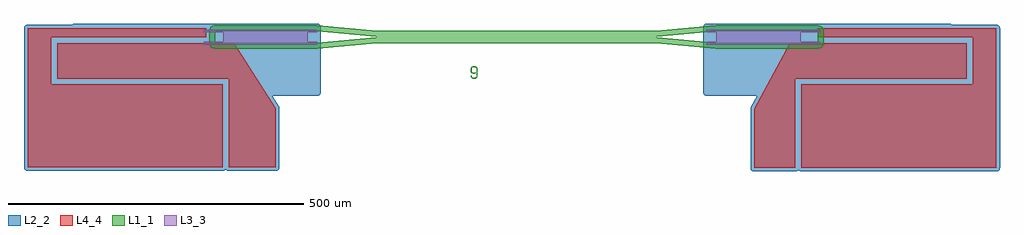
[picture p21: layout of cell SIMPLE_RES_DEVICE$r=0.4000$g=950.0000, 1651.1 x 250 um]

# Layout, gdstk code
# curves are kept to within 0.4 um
import gdstk
lib = gdstk.Library(unit=1e-6, precision=1e-10)
def P(c, l, *ps):  # polygons
    for p in ps: c.add(gdstk.Polygon(p, *l))
L1_1 = (1, 1)
L2_2 = (2, 2)
L3_3 = (3, 3)
L4_4 = (4, 4)

simple_res_device_r_0_40 = lib.new_cell('SIMPLE_RES_DEVICE$r=0.4000$g=950.0000')
P(simple_res_device_r_0_40, L1_1, [(-1280.848,-15.25),(-1284.6748,-14.4888),(-1287.1919,-12.9801),(-1289.1627,-10.8057),(-1290.6559,-7.2009),(-1290.6559,16.7009),(-1287.9191,21.8211),(-1282.7989,24.5579),(-1108.048,24.75),(-1007.579,15.35),(-770.9,15.35),(-770.9,5.35),(-1008.048,5.35),(-1108.048,14.75),(-1280.848,14.75),(-1280.848,-5.25),(-1108.048,-5.25),(-1008.048,4.15),(-770.9,4.15),(-770.9,-5.85),(-1007.579,-5.85),(-1108.048,-15.25)],
  [(-433.752,-15.25),(-534.221,-5.85),(-770.9,-5.85),(-770.9,4.15),(-533.752,4.15),(-433.752,-5.25),(-260.952,-5.25),(-260.952,14.75),(-433.752,14.75),(-533.752,5.35),(-770.9,5.35),(-770.9,15.35),(-534.221,15.35),(-433.752,24.75),(-260.952,24.75),(-255.3963,23.0647),(-253.2219,21.0939),(-251.3826,17.6528),(-250.952,-5.25),(-251.7132,-9.0768),(-253.8809,-12.3211),(-257.1252,-14.4888),(-260.952,-15.25)],
  [(-842.527,-65.604),(-844.891,-65.384),(-845.949,-65.06),(-846.985,-64.46),(-847.681,-63.738),(-848.091,-62.738),(-848.155,-60.7),(-846.669,-60.7),(-846.669,-62.14),(-846.131,-63.116),(-845.135,-63.73),(-842.985,-64.202),(-840.859,-63.966),(-839.729,-63.518),(-838.867,-62.878),(-838.377,-61.876),(-838.377,-48.696),(-838.717,-47.632),(-839.593,-46.902),(-840.747,-46.452),(-843.119,-46.186),(-845.357,-46.726),(-846.321,-47.34),(-846.913,-48.242),(-846.913,-53.316),(-846.573,-54.396),(-845.721,-55.134),(-844.589,-55.55),(-841.253,-55.65),(-840.273,-55.42),(-839.411,-54.892),(-839.403,-56.378),(-841.499,-57.01),(-845.253,-56.864),(-846.447,-56.462),(-847.459,-55.796),(-848.155,-54.774),(-848.399,-53.736),(-848.265,-47.602),(-847.727,-46.526),(-846.905,-45.774),(-844.787,-45.002),(-843.261,-44.842),(-841.001,-44.952),(-838.677,-45.698),(-837.737,-46.45),(-837.191,-47.298),(-836.905,-48.334),(-837.001,-62.708),(-837.373,-63.642),(-838.061,-64.434),(-839.103,-65.062),(-840.155,-65.39)])
P(simple_res_device_r_0_40, L2_2, [(-368.952,-222.5),(-372.7584,-221.1381),(-374.2435,-219.3284),(-374.9231,-217.0881),(-374.952,-116.5),(-374.2302,-113.6469),(-363.8806,-94.5),(-448.952,-94.5),(-451.7804,-93.7915),(-453.9408,-91.8334),(-454.952,-88.5),(-454.952,21.5),(-454.2435,24.3284),(-451.7804,26.7915),(-448.952,27.5),(-38.952,27.5),(-36.6559,27.0433),(-34.4894,25.5),(41.6361,25.4711),(44.3814,24.4888),(46.3395,22.3284),(47.048,19.5),(47.048,-216.5),(46.3395,-219.3284),(43.8764,-221.7915),(41.048,-222.5),(-288.952,-222.5),(-291.7804,-221.7915),(-293.952,-219.8148),(-296.1236,-221.7915),(-298.952,-222.5)],
  [(-1598.048,-221.5),(-1600.3441,-221.0433),(-1602.2906,-219.7426),(-1603.5913,-217.7961),(-1604.048,-215.5),(-1604.048,19.5),(-1603.3395,22.3284),(-1600.8764,24.7915),(-1598.048,25.5),(-1522.5106,25.5),(-1520.3441,27.0433),(-1518.048,27.5),(-1108.048,27.5),(-1105.2196,26.7915),(-1102.7565,24.3284),(-1102.048,21.5),(-1102.048,-88.5),(-1103.0592,-91.8334),(-1105.2196,-93.7915),(-1108.048,-94.5),(-1184.2998,-94.5),(-1172.986,-112.2787),(-1172.0747,-114.9341),(-1172.048,-215.5),(-1172.7565,-218.3284),(-1175.2196,-220.7915),(-1178.048,-221.5),(-1258.048,-221.5),(-1260.8764,-220.7915),(-1263.048,-218.8148),(-1265.2196,-220.7915),(-1268.048,-221.5)])
P(simple_res_device_r_0_40, L3_3, [(-448.952,-8),(-448.952,-3),(-433.197,-3),(-433.197,11.75),(-432.752,11.75),(-432.752,-3),(-432.752,-3),(-431.397,-3),(-431.397,11.75),(-430.952,11.75),(-430.952,-3),(-429.597,-3),(-429.597,11.75),(-429.152,11.75),(-429.152,-3),(-427.797,-3),(-427.797,11.75),(-427.352,11.75),(-427.352,-3),(-425.997,-3),(-425.997,11.75),(-425.552,11.75),(-425.552,-3),(-424.197,-3),(-424.197,11.75),(-423.752,11.75),(-423.752,-3),(-422.397,-3),(-422.397,11.75),(-421.952,11.75),(-421.952,-3),(-420.597,-3),(-420.597,11.75),(-420.152,11.75),(-420.152,-3),(-418.797,-3),(-418.797,11.75),(-418.352,11.75),(-418.352,-3),(-416.997,-3),(-416.997,11.75),(-416.552,11.75),(-416.552,-3),(-415.197,-3),(-415.197,11.75),(-414.752,11.75),(-414.752,-3),(-413.397,-3),(-413.397,11.75),(-412.952,11.75),(-412.952,-3),(-411.597,-3),(-411.597,11.75),(-411.152,11.75),(-411.152,-3),(-409.797,-3),(-409.797,11.75),(-409.352,11.75),(-409.352,-3),(-407.997,-3),(-407.997,11.75),(-407.552,11.75),(-407.552,-3),(-406.197,-3),(-406.197,11.75),(-405.752,11.75),(-405.752,-3),(-404.397,-3),(-404.397,11.75),(-403.952,11.75),(-403.952,-3),(-402.597,-3),(-402.597,11.75),(-402.152,11.75),(-402.152,-3),(-400.797,-3),(-400.797,11.75),(-400.352,11.75),(-400.352,-3),(-398.997,-3),(-398.997,11.75),(-398.552,11.75),(-398.552,-3),(-397.197,-3),(-397.197,11.75),(-396.752,11.75),(-396.752,-3),(-395.397,-3),(-395.397,11.75),(-394.952,11.75),(-394.952,-3),(-393.597,-3),(-393.597,11.75),(-393.152,11.75),(-393.152,-3),(-391.797,-3),(-391.797,11.75),(-391.352,11.75),(-391.352,-3),(-389.997,-3),(-389.997,11.75),(-389.552,11.75),(-389.552,-3),(-388.197,-3),(-388.197,11.75),(-387.752,11.75),(-387.752,-3),(-386.397,-3),(-386.397,11.75),(-385.952,11.75),(-385.952,-3),(-384.597,-3),(-384.597,11.75),(-384.152,11.75),(-384.152,-3),(-382.797,-3),(-382.797,11.75),(-382.352,11.75),(-382.352,-3),(-380.997,-3),(-380.997,11.75),(-380.552,11.75),(-380.552,-3),(-379.197,-3),(-379.197,11.75),(-378.752,11.75),(-378.752,-3),(-377.397,-3),(-377.397,11.75),(-376.952,11.75),(-376.952,-3),(-375.597,-3),(-375.597,11.75),(-375.152,11.75),(-375.152,-3),(-373.797,-3),(-373.797,11.75),(-373.352,11.75),(-373.352,-3),(-371.997,-3),(-371.997,11.75),(-371.552,11.75),(-371.552,-3),(-370.197,-3),(-370.197,11.75),(-369.752,11.75),(-369.752,-3),(-368.397,-3),(-368.397,11.75),(-367.952,11.75),(-367.952,-3),(-366.597,-3),(-366.597,11.75),(-366.152,11.75),(-366.152,-3),(-364.797,-3),(-364.797,11.75),(-364.352,11.75),(-364.352,-3),(-362.997,-3),(-362.997,11.75),(-362.552,11.75),(-362.552,-3),(-361.197,-3),(-361.197,11.75),(-360.752,11.75),(-360.752,-3),(-359.397,-3),(-359.397,11.75),(-358.952,11.75),(-358.952,-3),(-357.597,-3),(-357.597,11.75),(-357.152,11.75),(-357.152,-3),(-355.797,-3),(-355.797,11.75),(-355.352,11.75),(-355.352,-3),(-353.997,-3),(-353.997,11.75),(-353.552,11.75),(-353.552,-3),(-352.197,-3),(-352.197,11.75),(-351.752,11.75),(-351.752,-3),(-350.397,-3),(-350.397,11.75),(-349.952,11.75),(-349.952,-3),(-348.597,-3),(-348.597,11.75),(-348.152,11.75),(-348.152,-3),(-346.797,-3),(-346.797,11.75),(-346.352,11.75),(-346.352,-3),(-344.997,-3),(-344.997,11.75),(-344.552,11.75),(-344.552,-3),(-343.197,-3),(-343.197,11.75),(-342.752,11.75),(-342.752,-3),(-341.397,-3),(-341.397,11.75),(-340.952,11.75),(-340.952,-3),(-339.597,-3),(-339.597,11.75),(-339.152,11.75),(-339.152,-3),(-337.797,-3),(-337.797,11.75),(-337.352,11.75),(-337.352,-3),(-335.997,-3),(-335.997,11.75),(-335.552,11.75),(-335.552,-3),(-334.197,-3),(-334.197,11.75),(-333.752,11.75),(-333.752,-3),(-332.397,-3),(-332.397,11.75),(-331.952,11.75),(-331.952,-3),(-330.597,-3),(-330.597,11.75),(-330.152,11.75),(-330.152,-3),(-328.797,-3),(-328.797,11.75),(-328.352,11.75),(-328.352,-3),(-326.997,-3),(-326.997,11.75),(-326.552,11.75),(-326.552,-3),(-325.197,-3),(-325.197,11.75),(-324.752,11.75),(-324.752,-3),(-323.397,-3),(-323.397,11.75),(-322.952,11.75),(-322.952,-3),(-321.597,-3),(-321.597,11.75),(-321.152,11.75),(-321.152,-3),(-319.797,-3),(-319.797,11.75),(-319.352,11.75),(-319.352,-3),(-317.997,-3),(-317.997,11.75),(-317.552,11.75),(-317.552,-3),(-316.197,-3),(-316.197,11.75),(-315.752,11.75),(-315.752,-3),(-314.397,-3),(-314.397,11.75),(-313.952,11.75),(-313.952,-3),(-312.597,-3),(-312.597,11.75),(-312.152,11.75),(-312.152,-3),(-310.797,-3),(-310.797,11.75),(-310.352,11.75),(-310.352,-3),(-308.997,-3),(-308.997,11.75),(-308.552,11.75),(-308.552,-3),(-307.197,-3),(-307.197,11.75),(-306.752,11.75),(-306.752,-3),(-305.397,-3),(-305.397,11.75),(-304.952,11.75),(-304.952,-3),(-303.597,-3),(-303.597,11.75),(-303.152,11.75),(-303.152,-3),(-301.797,-3),(-301.797,11.75),(-301.352,11.75),(-301.352,-3),(-299.997,-3),(-299.997,11.75),(-299.552,11.75),(-299.552,-3),(-298.197,-3),(-298.197,11.75),(-297.752,11.75),(-297.752,-3),(-296.397,-3),(-296.397,11.75),(-295.952,11.75),(-295.952,-3),(-294.597,-3),(-294.597,11.75),(-294.152,11.75),(-294.152,-3),(-292.797,-3),(-292.797,11.75),(-292.352,11.75),(-292.352,-3),(-290.997,-3),(-290.997,11.75),(-290.552,11.75),(-290.552,-3),(-256.952,-3),(-256.952,-8)],
  [(-432.297,-2.25),(-432.297,12.5),(-448.952,12.5),(-448.952,17.5),(-256.952,17.5),(-256.952,12.5),(-289.652,12.5),(-289.652,-2.25),(-290.097,-2.25),(-290.097,12.5),(-291.452,12.5),(-291.452,-2.25),(-291.897,-2.25),(-291.897,12.5),(-293.252,12.5),(-293.252,-2.25),(-293.697,-2.25),(-293.697,12.5),(-295.052,12.5),(-295.052,-2.25),(-295.497,-2.25),(-295.497,12.5),(-296.852,12.5),(-296.852,-2.25),(-297.297,-2.25),(-297.297,12.5),(-298.652,12.5),(-298.652,-2.25),(-299.097,-2.25),(-299.097,12.5),(-300.452,12.5),(-300.452,-2.25),(-300.897,-2.25),(-300.897,12.5),(-302.252,12.5),(-302.252,-2.25),(-302.697,-2.25),(-302.697,12.5),(-304.052,12.5),(-304.052,-2.25),(-304.497,-2.25),(-304.497,12.5),(-305.852,12.5),(-305.852,-2.25),(-306.297,-2.25),(-306.297,12.5),(-307.652,12.5),(-307.652,-2.25),(-308.097,-2.25),(-308.097,12.5),(-309.452,12.5),(-309.452,-2.25),(-309.897,-2.25),(-309.897,12.5),(-311.252,12.5),(-311.252,-2.25),(-311.697,-2.25),(-311.697,12.5),(-313.052,12.5),(-313.052,-2.25),(-313.497,-2.25),(-313.497,12.5),(-314.852,12.5),(-314.852,-2.25),(-315.297,-2.25),(-315.297,12.5),(-316.652,12.5),(-316.652,-2.25),(-317.097,-2.25),(-317.097,12.5),(-318.452,12.5),(-318.452,-2.25),(-318.897,-2.25),(-318.897,12.5),(-320.252,12.5),(-320.252,-2.25),(-320.697,-2.25),(-320.697,12.5),(-322.052,12.5),(-322.052,-2.25),(-322.497,-2.25),(-322.497,12.5),(-323.852,12.5),(-323.852,-2.25),(-324.297,-2.25),(-324.297,12.5),(-325.652,12.5),(-325.652,-2.25),(-326.097,-2.25),(-326.097,12.5),(-327.452,12.5),(-327.452,-2.25),(-327.897,-2.25),(-327.897,12.5),(-329.252,12.5),(-329.252,-2.25),(-329.697,-2.25),(-329.697,12.5),(-331.052,12.5),(-331.052,-2.25),(-331.497,-2.25),(-331.497,12.5),(-332.852,12.5),(-332.852,-2.25),(-333.297,-2.25),(-333.297,12.5),(-334.652,12.5),(-334.652,-2.25),(-335.097,-2.25),(-335.097,12.5),(-336.452,12.5),(-336.452,-2.25),(-336.897,-2.25),(-336.897,12.5),(-338.252,12.5),(-338.252,-2.25),(-338.697,-2.25),(-338.697,12.5),(-340.052,12.5),(-340.052,-2.25),(-340.497,-2.25),(-340.497,12.5),(-341.852,12.5),(-341.852,-2.25),(-342.297,-2.25),(-342.297,12.5),(-343.652,12.5),(-343.652,-2.25),(-344.097,-2.25),(-344.097,12.5),(-345.452,12.5),(-345.452,-2.25),(-345.897,-2.25),(-345.897,12.5),(-347.252,12.5),(-347.252,-2.25),(-347.697,-2.25),(-347.697,12.5),(-349.052,12.5),(-349.052,-2.25),(-349.497,-2.25),(-349.497,12.5),(-350.852,12.5),(-350.852,-2.25),(-351.297,-2.25),(-351.297,12.5),(-352.652,12.5),(-352.652,-2.25),(-353.097,-2.25),(-353.097,12.5),(-354.452,12.5),(-354.452,-2.25),(-354.897,-2.25),(-354.897,12.5),(-356.252,12.5),(-356.252,-2.25),(-356.697,-2.25),(-356.697,12.5),(-358.052,12.5),(-358.052,-2.25),(-358.497,-2.25),(-358.497,12.5),(-359.852,12.5),(-359.852,-2.25),(-360.297,-2.25),(-360.297,12.5),(-361.652,12.5),(-361.652,-2.25),(-362.097,-2.25),(-362.097,12.5),(-363.452,12.5),(-363.452,-2.25),(-363.897,-2.25),(-363.897,12.5),(-365.252,12.5),(-365.252,-2.25),(-365.697,-2.25),(-365.697,12.5),(-367.052,12.5),(-367.052,-2.25),(-367.497,-2.25),(-367.497,12.5),(-368.852,12.5),(-368.852,-2.25),(-369.297,-2.25),(-369.297,12.5),(-370.652,12.5),(-370.652,-2.25),(-371.097,-2.25),(-371.097,12.5),(-372.452,12.5),(-372.452,-2.25),(-372.897,-2.25),(-372.897,12.5),(-374.252,12.5),(-374.252,-2.25),(-374.697,-2.25),(-374.697,12.5),(-376.052,12.5),(-376.052,-2.25),(-376.497,-2.25),(-376.497,12.5),(-377.852,12.5),(-377.852,-2.25),(-378.297,-2.25),(-378.297,12.5),(-379.652,12.5),(-379.652,-2.25),(-380.097,-2.25),(-380.097,12.5),(-381.452,12.5),(-381.452,-2.25),(-381.897,-2.25),(-381.897,12.5),(-383.252,12.5),(-383.252,-2.25),(-383.697,-2.25),(-383.697,12.5),(-385.052,12.5),(-385.052,-2.25),(-385.497,-2.25),(-385.497,12.5),(-386.852,12.5),(-386.852,-2.25),(-387.297,-2.25),(-387.297,12.5),(-388.652,12.5),(-388.652,-2.25),(-389.097,-2.25),(-389.097,12.5),(-390.452,12.5),(-390.452,-2.25),(-390.897,-2.25),(-390.897,12.5),(-392.252,12.5),(-392.252,-2.25),(-392.697,-2.25),(-392.697,12.5),(-394.052,12.5),(-394.052,-2.25),(-394.497,-2.25),(-394.497,12.5),(-395.852,12.5),(-395.852,-2.25),(-396.297,-2.25),(-396.297,12.5),(-397.652,12.5),(-397.652,-2.25),(-398.097,-2.25),(-398.097,12.5),(-399.452,12.5),(-399.452,-2.25),(-399.897,-2.25),(-399.897,12.5),(-401.252,12.5),(-401.252,-2.25),(-401.697,-2.25),(-401.697,12.5),(-403.052,12.5),(-403.052,-2.25),(-403.497,-2.25),(-403.497,12.5),(-404.852,12.5),(-404.852,-2.25),(-405.297,-2.25),(-405.297,12.5),(-406.652,12.5),(-406.652,-2.25),(-407.097,-2.25),(-407.097,12.5),(-408.452,12.5),(-408.452,-2.25),(-408.897,-2.25),(-408.897,12.5),(-410.252,12.5),(-410.252,-2.25),(-410.697,-2.25),(-410.697,12.5),(-412.052,12.5),(-412.052,-2.25),(-412.497,-2.25),(-412.497,12.5),(-413.852,12.5),(-413.852,-2.25),(-414.297,-2.25),(-414.297,12.5),(-415.652,12.5),(-415.652,-2.25),(-416.097,-2.25),(-416.097,12.5),(-417.452,12.5),(-417.452,-2.25),(-417.897,-2.25),(-417.897,-2.25),(-417.897,12.5),(-419.252,12.5),(-419.252,-2.25),(-419.697,-2.25),(-419.697,12.5),(-421.052,12.5),(-421.052,-2.25),(-421.497,-2.25),(-421.497,12.5),(-422.852,12.5),(-422.852,-2.25),(-423.297,-2.25),(-423.297,12.5),(-424.652,12.5),(-424.652,-2.25),(-425.097,-2.25),(-425.097,12.5),(-426.452,12.5),(-426.452,-2.25),(-426.897,-2.25),(-426.897,12.5),(-428.252,12.5),(-428.252,-2.25),(-428.697,-2.25),(-428.697,12.5),(-430.052,12.5),(-430.052,-2.25),(-430.497,-2.25),(-430.497,12.5),(-431.852,12.5),(-431.852,-2.25)],
  [(-1300.048,-8),(-1300.048,-3),(-1266.448,-3),(-1266.448,11.75),(-1266.003,11.75),(-1266.003,-3),(-1264.648,-3),(-1264.648,11.75),(-1264.203,11.75),(-1264.203,-3),(-1262.848,-3),(-1262.848,11.75),(-1262.403,11.75),(-1262.403,-3),(-1261.048,-3),(-1261.048,11.75),(-1260.603,11.75),(-1260.603,-3),(-1259.248,-3),(-1259.248,11.75),(-1258.803,11.75),(-1258.803,-3),(-1257.448,-3),(-1257.448,11.75),(-1257.003,11.75),(-1257.003,-3),(-1255.648,-3),(-1255.648,11.75),(-1255.203,11.75),(-1255.203,-3),(-1253.848,-3),(-1253.848,11.75),(-1253.403,11.75),(-1253.403,-3),(-1252.048,-3),(-1252.048,11.75),(-1251.603,11.75),(-1251.603,-3),(-1250.248,-3),(-1250.248,11.75),(-1249.803,11.75),(-1249.803,-3),(-1248.448,-3),(-1248.448,11.75),(-1248.003,11.75),(-1248.003,-3),(-1246.648,-3),(-1246.648,11.75),(-1246.203,11.75),(-1246.203,-3),(-1244.848,-3),(-1244.848,11.75),(-1244.403,11.75),(-1244.403,11.75),(-1244.403,-3),(-1243.048,-3),(-1243.048,11.75),(-1242.603,11.75),(-1242.603,-3),(-1241.248,-3),(-1241.248,11.75),(-1240.803,11.75),(-1240.803,-3),(-1239.448,-3),(-1239.448,11.75),(-1239.003,11.75),(-1239.003,-3),(-1237.648,-3),(-1237.648,11.75),(-1237.203,11.75),(-1237.203,-3),(-1235.848,-3),(-1235.848,11.75),(-1235.403,11.75),(-1235.403,-3),(-1234.048,-3),(-1234.048,11.75),(-1233.603,11.75),(-1233.603,-3),(-1232.248,-3),(-1232.248,11.75),(-1231.803,11.75),(-1231.803,-3),(-1230.448,-3),(-1230.448,11.75),(-1230.003,11.75),(-1230.003,-3),(-1228.648,-3),(-1228.648,11.75),(-1228.203,11.75),(-1228.203,-3),(-1226.848,-3),(-1226.848,11.75),(-1226.403,11.75),(-1226.403,-3),(-1225.048,-3),(-1225.048,11.75),(-1224.603,11.75),(-1224.603,-3),(-1223.248,-3),(-1223.248,11.75),(-1222.803,11.75),(-1222.803,-3),(-1221.448,-3),(-1221.448,11.75),(-1221.003,11.75),(-1221.003,-3),(-1219.648,-3),(-1219.648,11.75),(-1219.203,11.75),(-1219.203,-3),(-1217.848,-3),(-1217.848,11.75),(-1217.403,11.75),(-1217.403,-3),(-1216.048,-3),(-1216.048,11.75),(-1215.603,11.75),(-1215.603,-3),(-1214.248,-3),(-1214.248,11.75),(-1213.803,11.75),(-1213.803,-3),(-1212.448,-3),(-1212.448,11.75),(-1212.003,11.75),(-1212.003,-3),(-1210.648,-3),(-1210.648,11.75),(-1210.203,11.75),(-1210.203,-3),(-1208.848,-3),(-1208.848,11.75),(-1208.403,11.75),(-1208.403,-3),(-1207.048,-3),(-1207.048,11.75),(-1206.603,11.75),(-1206.603,-3),(-1205.248,-3),(-1205.248,11.75),(-1204.803,11.75),(-1204.803,-3),(-1203.448,-3),(-1203.448,11.75),(-1203.003,11.75),(-1203.003,-3),(-1201.648,-3),(-1201.648,11.75),(-1201.203,11.75),(-1201.203,-3),(-1199.848,-3),(-1199.848,11.75),(-1199.403,11.75),(-1199.403,-3),(-1198.048,-3),(-1198.048,11.75),(-1197.603,11.75),(-1197.603,-3),(-1196.248,-3),(-1196.248,11.75),(-1195.803,11.75),(-1195.803,-3),(-1194.448,-3),(-1194.448,11.75),(-1194.003,11.75),(-1194.003,-3),(-1192.648,-3),(-1192.648,11.75),(-1192.203,11.75),(-1192.203,-3),(-1190.848,-3),(-1190.848,11.75),(-1190.403,11.75),(-1190.403,-3),(-1189.048,-3),(-1189.048,11.75),(-1188.603,11.75),(-1188.603,-3),(-1187.248,-3),(-1187.248,11.75),(-1186.803,11.75),(-1186.803,-3),(-1185.448,-3),(-1185.448,11.75),(-1185.003,11.75),(-1185.003,-3),(-1183.648,-3),(-1183.648,11.75),(-1183.203,11.75),(-1183.203,-3),(-1181.848,-3),(-1181.848,11.75),(-1181.403,11.75),(-1181.403,-3),(-1180.048,-3),(-1180.048,11.75),(-1179.603,11.75),(-1179.603,-3),(-1178.248,-3),(-1178.248,11.75),(-1177.803,11.75),(-1177.803,-3),(-1176.448,-3),(-1176.448,11.75),(-1176.003,11.75),(-1176.003,-3),(-1174.648,-3),(-1174.648,11.75),(-1174.203,11.75),(-1174.203,-3),(-1172.848,-3),(-1172.848,11.75),(-1172.403,11.75),(-1172.403,-3),(-1171.048,-3),(-1171.048,11.75),(-1170.603,11.75),(-1170.603,-3),(-1169.248,-3),(-1169.248,11.75),(-1168.803,11.75),(-1168.803,-3),(-1167.448,-3),(-1167.448,11.75),(-1167.003,11.75),(-1167.003,-3),(-1165.648,-3),(-1165.648,11.75),(-1165.203,11.75),(-1165.203,-3),(-1163.848,-3),(-1163.848,11.75),(-1163.403,11.75),(-1163.403,-3),(-1162.048,-3),(-1162.048,11.75),(-1161.603,11.75),(-1161.603,-3),(-1160.248,-3),(-1160.248,11.75),(-1159.803,11.75),(-1159.803,-3),(-1158.448,-3),(-1158.448,11.75),(-1158.003,11.75),(-1158.003,-3),(-1156.648,-3),(-1156.648,11.75),(-1156.203,11.75),(-1156.203,-3),(-1154.848,-3),(-1154.848,11.75),(-1154.403,11.75),(-1154.403,-3),(-1153.048,-3),(-1153.048,11.75),(-1152.603,11.75),(-1152.603,-3),(-1151.248,-3),(-1151.248,11.75),(-1150.803,11.75),(-1150.803,-3),(-1149.448,-3),(-1149.448,11.75),(-1149.003,11.75),(-1149.003,-3),(-1147.648,-3),(-1147.648,11.75),(-1147.203,11.75),(-1147.203,-3),(-1145.848,-3),(-1145.848,11.75),(-1145.403,11.75),(-1145.403,-3),(-1144.048,-3),(-1144.048,11.75),(-1143.603,11.75),(-1143.603,-3),(-1142.248,-3),(-1142.248,11.75),(-1141.803,11.75),(-1141.803,-3),(-1140.448,-3),(-1140.448,11.75),(-1140.003,11.75),(-1140.003,-3),(-1138.648,-3),(-1138.648,11.75),(-1138.203,11.75),(-1138.203,-3),(-1136.848,-3),(-1136.848,11.75),(-1136.403,11.75),(-1136.403,-3),(-1135.048,-3),(-1135.048,11.75),(-1134.603,11.75),(-1134.603,-3),(-1133.248,-3),(-1133.248,11.75),(-1132.803,11.75),(-1132.803,-3),(-1131.448,-3),(-1131.448,11.75),(-1131.003,11.75),(-1131.003,-3),(-1129.648,-3),(-1129.648,11.75),(-1129.203,11.75),(-1129.203,-3),(-1127.848,-3),(-1127.848,11.75),(-1127.403,11.75),(-1127.403,-3),(-1126.048,-3),(-1126.048,11.75),(-1125.603,11.75),(-1125.603,-3),(-1124.248,-3),(-1124.248,11.75),(-1123.803,11.75),(-1123.803,-3),(-1108.048,-3),(-1108.048,-8)],
  [(-1267.348,-2.25),(-1267.348,12.5),(-1300.048,12.5),(-1300.048,17.5),(-1108.048,17.5),(-1108.048,12.5),(-1124.703,12.5),(-1124.703,-2.25),(-1125.148,-2.25),(-1125.148,12.5),(-1126.503,12.5),(-1126.503,-2.25),(-1126.948,-2.25),(-1126.948,12.5),(-1128.303,12.5),(-1128.303,-2.25),(-1128.748,-2.25),(-1128.748,12.5),(-1130.103,12.5),(-1130.103,-2.25),(-1130.548,-2.25),(-1130.548,12.5),(-1131.903,12.5),(-1131.903,-2.25),(-1132.348,-2.25),(-1132.348,12.5),(-1133.703,12.5),(-1133.703,-2.25),(-1134.148,-2.25),(-1134.148,12.5),(-1135.503,12.5),(-1135.503,-2.25),(-1135.948,-2.25),(-1135.948,12.5),(-1137.303,12.5),(-1137.303,-2.25),(-1137.748,-2.25),(-1137.748,12.5),(-1139.103,12.5),(-1139.103,-2.25),(-1139.548,-2.25),(-1139.548,12.5),(-1140.903,12.5),(-1140.903,-2.25),(-1141.348,-2.25),(-1141.348,12.5),(-1142.703,12.5),(-1142.703,-2.25),(-1143.148,-2.25),(-1143.148,12.5),(-1144.503,12.5),(-1144.503,-2.25),(-1144.948,-2.25),(-1144.948,12.5),(-1146.303,12.5),(-1146.303,-2.25),(-1146.748,-2.25),(-1146.748,12.5),(-1148.103,12.5),(-1148.103,-2.25),(-1148.548,-2.25),(-1148.548,12.5),(-1149.903,12.5),(-1149.903,-2.25),(-1150.348,-2.25),(-1150.348,12.5),(-1151.703,12.5),(-1151.703,-2.25),(-1152.148,-2.25),(-1152.148,12.5),(-1153.503,12.5),(-1153.503,-2.25),(-1153.948,-2.25),(-1153.948,12.5),(-1155.303,12.5),(-1155.303,-2.25),(-1155.748,-2.25),(-1155.748,12.5),(-1157.103,12.5),(-1157.103,-2.25),(-1157.548,-2.25),(-1157.548,12.5),(-1158.903,12.5),(-1158.903,-2.25),(-1159.348,-2.25),(-1159.348,12.5),(-1160.703,12.5),(-1160.703,-2.25),(-1161.148,-2.25),(-1161.148,12.5),(-1162.503,12.5),(-1162.503,-2.25),(-1162.948,-2.25),(-1162.948,12.5),(-1164.303,12.5),(-1164.303,-2.25),(-1164.748,-2.25),(-1164.748,12.5),(-1166.103,12.5),(-1166.103,-2.25),(-1166.548,-2.25),(-1166.548,12.5),(-1167.903,12.5),(-1167.903,-2.25),(-1168.348,-2.25),(-1168.348,12.5),(-1169.703,12.5),(-1169.703,-2.25),(-1170.148,-2.25),(-1170.148,12.5),(-1171.503,12.5),(-1171.503,-2.25),(-1171.948,-2.25),(-1171.948,12.5),(-1173.303,12.5),(-1173.303,-2.25),(-1173.748,-2.25),(-1173.748,12.5),(-1175.103,12.5),(-1175.103,-2.25),(-1175.548,-2.25),(-1175.548,12.5),(-1176.903,12.5),(-1176.903,-2.25),(-1177.348,-2.25),(-1177.348,12.5),(-1178.703,12.5),(-1178.703,-2.25),(-1179.148,-2.25),(-1179.148,12.5),(-1180.503,12.5),(-1180.503,-2.25),(-1180.948,-2.25),(-1180.948,12.5),(-1182.303,12.5),(-1182.303,-2.25),(-1182.748,-2.25),(-1182.748,12.5),(-1184.103,12.5),(-1184.103,-2.25),(-1184.548,-2.25),(-1184.548,12.5),(-1185.903,12.5),(-1185.903,-2.25),(-1186.348,-2.25),(-1186.348,12.5),(-1187.703,12.5),(-1187.703,-2.25),(-1188.148,-2.25),(-1188.148,12.5),(-1189.503,12.5),(-1189.503,-2.25),(-1189.948,-2.25),(-1189.948,12.5),(-1191.303,12.5),(-1191.303,-2.25),(-1191.748,-2.25),(-1191.748,12.5),(-1193.103,12.5),(-1193.103,-2.25),(-1193.548,-2.25),(-1193.548,12.5),(-1194.903,12.5),(-1194.903,-2.25),(-1195.348,-2.25),(-1195.348,12.5),(-1196.703,12.5),(-1196.703,-2.25),(-1197.148,-2.25),(-1197.148,12.5),(-1198.503,12.5),(-1198.503,-2.25),(-1198.948,-2.25),(-1198.948,12.5),(-1200.303,12.5),(-1200.303,-2.25),(-1200.748,-2.25),(-1200.748,12.5),(-1202.103,12.5),(-1202.103,-2.25),(-1202.548,-2.25),(-1202.548,12.5),(-1203.903,12.5),(-1203.903,-2.25),(-1204.348,-2.25),(-1204.348,12.5),(-1205.703,12.5),(-1205.703,-2.25),(-1206.148,-2.25),(-1206.148,12.5),(-1207.503,12.5),(-1207.503,-2.25),(-1207.948,-2.25),(-1207.948,12.5),(-1209.303,12.5),(-1209.303,-2.25),(-1209.748,-2.25),(-1209.748,12.5),(-1211.103,12.5),(-1211.103,-2.25),(-1211.548,-2.25),(-1211.548,12.5),(-1212.903,12.5),(-1212.903,-2.25),(-1213.348,-2.25),(-1213.348,12.5),(-1214.703,12.5),(-1214.703,-2.25),(-1215.148,-2.25),(-1215.148,12.5),(-1216.503,12.5),(-1216.503,-2.25),(-1216.948,-2.25),(-1216.948,12.5),(-1218.303,12.5),(-1218.303,-2.25),(-1218.748,-2.25),(-1218.748,12.5),(-1220.103,12.5),(-1220.103,-2.25),(-1220.548,-2.25),(-1220.548,12.5),(-1221.903,12.5),(-1221.903,-2.25),(-1222.348,-2.25),(-1222.348,12.5),(-1223.703,12.5),(-1223.703,-2.25),(-1224.148,-2.25),(-1224.148,12.5),(-1225.503,12.5),(-1225.503,-2.25),(-1225.948,-2.25),(-1225.948,12.5),(-1227.303,12.5),(-1227.303,-2.25),(-1227.748,-2.25),(-1227.748,12.5),(-1229.103,12.5),(-1229.103,-2.25),(-1229.548,-2.25),(-1229.548,12.5),(-1230.903,12.5),(-1230.903,-2.25),(-1231.348,-2.25),(-1231.348,12.5),(-1232.703,12.5),(-1232.703,-2.25),(-1233.148,-2.25),(-1233.148,12.5),(-1234.503,12.5),(-1234.503,-2.25),(-1234.948,-2.25),(-1234.948,12.5),(-1236.303,12.5),(-1236.303,-2.25),(-1236.748,-2.25),(-1236.748,12.5),(-1238.103,12.5),(-1238.103,-2.25),(-1238.548,-2.25),(-1238.548,12.5),(-1238.548,12.5),(-1239.903,12.5),(-1239.903,-2.25),(-1240.348,-2.25),(-1240.348,12.5),(-1241.703,12.5),(-1241.703,-2.25),(-1242.148,-2.25),(-1242.148,12.5),(-1243.503,12.5),(-1243.503,-2.25),(-1243.948,-2.25),(-1243.948,12.5),(-1245.303,12.5),(-1245.303,-2.25),(-1245.748,-2.25),(-1245.748,12.5),(-1247.103,12.5),(-1247.103,-2.25),(-1247.548,-2.25),(-1247.548,12.5),(-1248.903,12.5),(-1248.903,-2.25),(-1249.348,-2.25),(-1249.348,12.5),(-1250.703,12.5),(-1250.703,-2.25),(-1251.148,-2.25),(-1251.148,12.5),(-1252.503,12.5),(-1252.503,-2.25),(-1252.948,-2.25),(-1252.948,12.5),(-1254.303,12.5),(-1254.303,-2.25),(-1254.748,-2.25),(-1254.748,12.5),(-1256.103,12.5),(-1256.103,-2.25),(-1256.548,-2.25),(-1256.548,12.5),(-1257.903,12.5),(-1257.903,-2.25),(-1258.348,-2.25),(-1258.348,12.5),(-1259.703,12.5),(-1259.703,-2.25),(-1260.148,-2.25),(-1260.148,12.5),(-1261.503,12.5),(-1261.503,-2.25),(-1261.948,-2.25),(-1261.948,12.5),(-1263.303,12.5),(-1263.303,-2.25),(-1263.748,-2.25),(-1263.748,12.5),(-1265.103,12.5),(-1265.103,-2.25),(-1265.548,-2.25),(-1265.548,12.5),(-1266.903,12.5),(-1266.903,-2.25)])
P(simple_res_device_r_0_40, L4_4, [(-368.952,-216.5),(-368.952,-116.5),(-308.952,-5.5),(-8.952,-5.5),(-8.952,-5.5),(-8.952,-65.5),(-298.952,-65.5),(-298.952,-216.5)],
  [(-288.952,-216.5),(-288.952,-75.5),(1.048,-75.5),(1.048,4.5),(-260.952,4.5),(-260.952,19.5),(41.048,19.5),(41.048,19.5),(41.048,-216.5)],
  [(-1258.048,-215.5),(-1258.048,-65.5),(-1548.048,-65.5),(-1548.048,-5.5),(-1248.048,-5.5),(-1178.048,-115.5),(-1178.048,-115.5),(-1178.048,-215.5)],
  [(-1598.048,-215.5),(-1598.048,19.5),(-1296.048,19.5),(-1296.048,4.5),(-1296.048,4.5),(-1558.048,4.5),(-1558.048,-75.5),(-1268.048,-75.5),(-1268.048,-215.5)])

lib.write_gds('SIMPLE_RES_DEVICE_r_0.4000_g_950.0000.gds')
